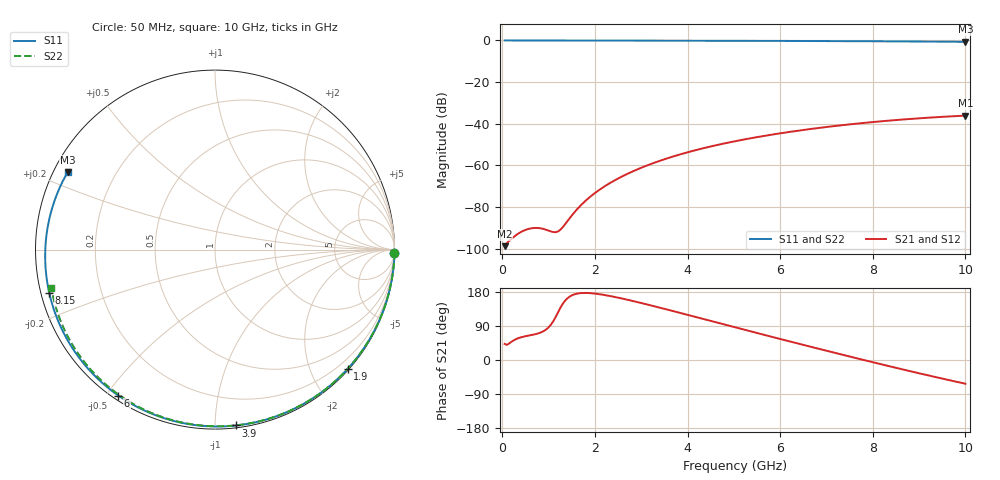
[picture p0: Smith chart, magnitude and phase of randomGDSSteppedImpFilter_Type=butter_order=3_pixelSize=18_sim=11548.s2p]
! freq	dB(S11)	phase(S11)	dB(S12)	phase(S12)
!  dB(S21)	phase(S21)	dB(S22)	phase(S22)
!S-par simulation data
#  GHz  S  DB  R 50
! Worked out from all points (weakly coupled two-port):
!   200 points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, 50 MHz to 10 GHz, reference 50 ohm
!   highest |S21| = -36.08 dB at 10 GHz (marker M1); lowest = -98.7 dB at 50 MHz (marker M2)
!   lowest |S11| = -0.7 dB at 10 GHz (marker M3), VSWR 26.54, Z = 2 + j12.3 ohm
!   |S11| at or under -10 dB: nowhere
!   |S22| runs from -0.6 to 0.0 dB; largest |S21 - S12| = 0
!   S11 on the Smith chart (normalised r, x): 50 MHz: open; 1.9 GHz: 0.02, -2.61; 3.9 GHz: 0.01, -1.13; 6 GHz: 0.02, -0.54; 8.15 GHz: 0.02, -0.13; 10 GHz: 0.04, +0.25
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0.05  -0.00 -1.1  -98.75 42.5  -98.75 42.5  -0.00 -1.0
0.8  -0.02 -17.9  -90.09 71.2  -90.09 71.2  -0.02 -15.3
1.2  -0.03 -26.7  -91.72 124.9  -91.72 124.9  -0.03 -22.8
1.65  -0.05 -36.5  -80.18 175.9  -80.18 175.9  -0.04 -31.2
1.75  -0.05 -38.6  -77.94 176.9  -77.94 176.9  -0.04 -33.1
1.9  -0.05 -41.9  -75.00 176.4  -75.00 176.4  -0.05 -35.8
2.2  -0.06 -48.3  -70.16 171.7  -70.16 171.7  -0.05 -41.3
2.55  -0.07 -55.6  -65.69 163.2  -65.69 163.2  -0.06 -47.6
2.95  -0.08 -63.9  -61.57 151.9  -61.57 151.9  -0.07 -54.7
3.4  -0.10 -73.1  -57.78 138.2  -57.78 138.2  -0.08 -62.6
3.9  -0.11 -83.1  -54.31 122.4  -54.31 122.4  -0.10 -71.2
4.45  -0.13 -93.9  -51.14 104.8  -51.14 104.8  -0.12 -80.4
5.05  -0.16 -105.5  -48.26 85.6  -48.26 85.6  -0.14 -90.1
6  -0.22 -123.5  -44.58 55.5  -44.58 55.5  -0.18 -105.1
6.7  -0.27 -136.8  -42.38 33.7  -42.38 33.7  -0.23 -115.9
7.45  -0.33 -151.3  -40.40 10.7  -40.40 10.7  -0.28 -127.3
8.15  -0.40 -165.4  -38.86 -10.3  -38.86 -10.3  -0.34 -137.8
8.35  -0.43 -169.5  -38.48 -16.2  -38.48 -16.2  -0.36 -140.9
8.8  -0.48 -179.2  -37.69 -29.3  -37.69 -29.3  -0.41 -147.8
9.2  -0.53 171.8  -37.07 -40.7  -37.07 -40.7  -0.46 -154.0
9.6  -0.59 162.4  -36.54 -51.8  -36.54 -51.8  -0.51 -160.3
10  -0.65 152.3  -36.08 -62.6  -36.08 -62.6  -0.57 -166.9
